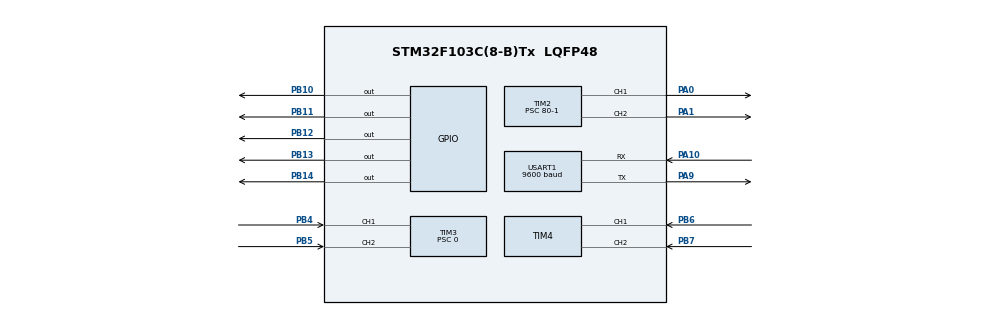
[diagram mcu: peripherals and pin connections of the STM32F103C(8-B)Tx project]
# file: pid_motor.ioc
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Mcu.Family=STM32F1
Mcu.Name=STM32F103C(8-B)Tx
Mcu.Package=LQFP48
NVIC.PriorityGroup=NVIC_PRIORITYGROUP_4
NVIC.TIM2_IRQn=true\:0\:0\:false\:false\:true\:true\:true\:true
NVIC.TIM3_IRQn=true\:0\:0\:false\:false\:true\:true\:true\:true
PA0-WKUP.Signal=S_TIM2_CH1_ETR
PA1.Signal=S_TIM2_CH2
PA10.Mode=Asynchronous
PA10.Signal=USART1_RX
PA13.Mode=Serial_Wire
PA13.Signal=SYS_JTMS-SWDIO
PA14.Mode=Serial_Wire
PA14.Signal=SYS_JTCK-SWCLK
PA9.Mode=Asynchronous
PA9.Signal=USART1_TX
PB10.Signal=GPIO_Output
PB11.Signal=GPIO_Output
PB12.Signal=GPIO_Output
PB13.Signal=GPIO_Output
PB14.Signal=GPIO_Output
PB4.Signal=S_TIM3_CH1
PB5.Signal=S_TIM3_CH2
PB6.Signal=S_TIM4_CH1
PB7.Signal=S_TIM4_CH2
PD0-OSC_IN.Mode=HSE-External-Oscillator
PD0-OSC_IN.Signal=RCC_OSC_IN
PD1-OSC_OUT.Mode=HSE-External-Oscillator
PD1-OSC_OUT.Signal=RCC_OSC_OUT
ProjectManager.HeapSize=0x200
ProjectManager.StackSize=0x400
ProjectManager.TargetToolchain=STM32CubeIDE
RCC.APB1Freq_Value=8000000
RCC.APB2Freq_Value=8000000
RCC.SYSCLKSource=RCC_SYSCLKSOURCE_HSE
SH.S_TIM2_CH1_ETR.0=TIM2_CH1,PWM Generation1 CH1
SH.S_TIM2_CH2.0=TIM2_CH2,PWM Generation2 CH2
SH.S_TIM3_CH1.0=TIM3_CH1,Encoder_Interface
SH.S_TIM3_CH2.0=TIM3_CH2,Encoder_Interface
SH.S_TIM4_CH1.0=TIM4_CH1,Encoder_Interface
SH.S_TIM4_CH2.0=TIM4_CH2,Encoder_Interface
TIM2.AutoReloadPreload=TIM_AUTORELOAD_PRELOAD_DISABLE
TIM2.Channel-PWM\ Generation1\ CH1=TIM_CHANNEL_1
TIM2.Channel-PWM\ Generation2\ CH2=TIM_CHANNEL_2
TIM2.Period=200-1
TIM2.Prescaler=80-1
TIM2.Pulse-PWM\ Generation1\ CH1=250-1
TIM3.EncoderMode=TIM_ENCODERMODE_TI12
TIM3.IC1Polarity=TIM_ICPOLARITY_RISING
TIM3.IC2Polarity=TIM_ICPOLARITY_RISING
TIM3.Period=936-1
TIM3.Prescaler=0
TIM4.EncoderMode=TIM_ENCODERMODE_TI12
USART1.BaudRate=9600
USART1.VirtualMode=VM_ASYNC
VP_TIM2_VS_ClockSourceINT.Mode=Internal
board=custom

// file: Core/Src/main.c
/* USER CODE BEGIN Header */
/**
  ******************************************************************************
  * @file           : main.c
  * @brief          : Main program body
  ******************************************************************************
  * @attention
  *
  * Copyright (c) 2023 STMicroelectronics.
  * All rights reserved.
  *
  * This software is licensed under terms that can be found in the LICENSE file
  * in the root directory of this software component.
  * If no LICENSE file comes with this software, it is provided AS-IS.
  *
  ******************************************************************************
  */
/* USER CODE END Header */
#include "main.h"

/* USER CODE BEGIN Includes */
#include "motor.h"
#include "moving_average.h"
#include "math.h"
#include <stdio.h>
#include <string.h>
/* USER CODE END Includes */

TIM_HandleTypeDef htim2;
TIM_HandleTypeDef htim3;
TIM_HandleTypeDef htim4;

UART_HandleTypeDef huart1;

void SystemClock_Config(void);
static void MX_GPIO_Init(void);
static void MX_TIM2_Init(void);
static void MX_USART1_UART_Init(void);
static void MX_TIM3_Init(void);
static void MX_TIM4_Init(void);

/* USER CODE BEGIN 0 */
char pwm_buffer[10];
char rpm_buffer[10];
uint8_t send_flag = 0;
int16_t pwm;
int16_t speed=0;
FilterTypeDef filter_struct;
uint16_t cn=0;
int32_t idx =0;
const int8_t TIMER_PERIOD = 2; //2ms
int32_t current_time=0;
int16_t overflow_time=0;
int16_t prev_position_1=0, prev_position_2 = 0;

motor_params motor_1 ={
	.pulse_per_rev = 234,
	.ucount=0,
	.scount=0,
	.prev_time=0,
	.rpm=0,
	.direction=0,
	.pwm_channel = TIM_CHANNEL_1,
	.in1_pin = GPIO_PIN_12,
	.in2_pin = GPIO_PIN_13,
	.in_port = GPIOB
};

motor_params motor_2 ={
	.pulse_per_rev = 234,
	.ucount=0,
	.scount=0,
	.prev_time=0,
	.rpm=0,
	.direction=0,
	.pwm_channel = TIM_CHANNEL_2,
	.in1_pin = GPIO_PIN_10,
	.in2_pin = GPIO_PIN_11,
	.in_port = GPIOB

};

void HAL_TIM_IC_CaptureCallback(TIM_HandleTypeDef *htim){
	send_flag=1;
	if(htim->Instance == TIM3){
	readEncoder(&motor_1,htim);
//	Freq = 100kHz 1 tick = 1e-5
	current_time = overflow_time*200 + __HAL_TIM_GET_COUNTER(&htim2);
	if(motor_1.position!=prev_position_1){
		calculateRPM(&motor_1, current_time);
		prev_position_1  = motor_1.position;
		motor_1.rpm = Moving_Average_Compute(motor_1.rpm, &filter_struct);
		}
	}
	else if(htim->Instance == TIM4){
		readEncoder(&motor_2,htim);
	//	Freq = 100kHz 1 tick = 1e-5
		current_time = overflow_time*200 + __HAL_TIM_GET_COUNTER(&htim4);
		if(motor_2.position!=prev_position_2){
			calculateRPM(&motor_2, current_time);
			prev_position_2  = motor_2.position;
			motor_2.rpm = Moving_Average_Compute(motor_2.rpm, &filter_struct);
			}
		}
}

void HAL_TIM_PeriodElapsedCallback(TIM_HandleTypeDef *htim){
	UNUSED(htim);
	if(htim->Instance == TIM2){
		overflow_time ++;
	}
}

/* USER CODE END 0 */

int main(void)
{

  /* MCU Configuration--------------------------------------------------------*/

  /* Reset of all peripherals, Initializes the Flash interface and the Systick. */
  HAL_Init();

  /* Configure the system clock */
  SystemClock_Config();

  /* Initialize all configured peripherals */
  MX_GPIO_Init();
  MX_TIM2_Init();
  MX_USART1_UART_Init();
  MX_TIM3_Init();
  MX_TIM4_Init();
  /* USER CODE BEGIN 2 */
  HAL_TIM_Base_Start_IT(&htim2);

  initMotor(&motor_1,&htim2);
  initMotor(&motor_2,&htim2);

  HAL_TIM_Encoder_Start_IT(&htim3, TIM_CHANNEL_ALL);
  HAL_TIM_Encoder_Start_IT(&htim4, TIM_CHANNEL_ALL);
  Moving_Average_Init(&filter_struct);

  PID_Param pid_params;
	pid_params.Kp=1.12;
	pid_params.Ki=0.002;
	pid_params.Kd=30;
	pid_params.Outmin=20;
	pid_params.Outmax=100;
	pid_params.enable_anti_windup=1;
	pid_params.Anti_windup_error=40;
//
	PID_Init(&pid_params);
	// Nho han lai chan A15
	setMotorPWM(&motor_1,&htim2,100);
	setMotorPWM(&motor_2,&htim2,100);
//	uint16_t prev_time=0;

  /* USER CODE END 2 */

  /* Infinite loop */
  /* USER CODE BEGIN WHILE */
  while (1)
  {
//	  pwm = 50*sin(2*3.141*idx/1000)+50;
//	  setMotorPWM(&htim2, pwm);

//	  idx++;
	  if(send_flag==1){
		  send_flag=0;
		  sprintf(rpm_buffer,"%d\n",motor_1.rpm);
		  //	  sprintf(pwm_buffer,"%d\n",pwm);
		  HAL_UART_Transmit(&huart1, (uint16_t *)rpm_buffer, sizeof(rpm_buffer), HAL_MAX_DELAY);
		  //	  HAL_UART_Transmit(&huart1, (int16_t *)pwm_buffer, sizeof(pwm_buffer), HAL_MAX_DELAY);
	  }
//	  pwm = PID_Calculation(200, motor_p.rpm);

//	  HAL_Delay(10);
    /* USER CODE END WHILE */

  }
}

void SystemClock_Config(void)
{
  RCC_OscInitTypeDef RCC_OscInitStruct = {0};
  RCC_ClkInitTypeDef RCC_ClkInitStruct = {0};

  /** Initializes the RCC Oscillators according to the specified parameters
  * in the RCC_OscInitTypeDef structure.
  */
  RCC_OscInitStruct.OscillatorType = RCC_OSCILLATORTYPE_HSE;
  RCC_OscInitStruct.HSEState = RCC_HSE_ON;
  RCC_OscInitStruct.PLL.PLLState = RCC_PLL_NONE;
  if (HAL_RCC_OscConfig(&RCC_OscInitStruct) != HAL_OK)
  {
    Error_Handler();
  }

  /** Initializes the CPU, AHB and APB buses clocks
  */
  RCC_ClkInitStruct.ClockType = RCC_CLOCKTYPE_HCLK|RCC_CLOCKTYPE_SYSCLK
                              |RCC_CLOCKTYPE_PCLK1|RCC_CLOCKTYPE_PCLK2;
  RCC_ClkInitStruct.SYSCLKSource = RCC_SYSCLKSOURCE_HSE;
  RCC_ClkInitStruct.AHBCLKDivider = RCC_SYSCLK_DIV1;
  RCC_ClkInitStruct.APB1CLKDivider = RCC_HCLK_DIV1;
  RCC_ClkInitStruct.APB2CLKDivider = RCC_HCLK_DIV1;

  if (HAL_RCC_ClockConfig(&RCC_ClkInitStruct, FLASH_LATENCY_0) != HAL_OK)
  {
    Error_Handler();
  }
}

static void MX_TIM2_Init(void)
{

  TIM_ClockConfigTypeDef sClockSourceConfig = {0};
  TIM_MasterConfigTypeDef sMasterConfig = {0};
  TIM_OC_InitTypeDef sConfigOC = {0};

  htim2.Instance = TIM2;
  htim2.Init.Prescaler = 80-1;
  htim2.Init.CounterMode = TIM_COUNTERMODE_UP;
  htim2.Init.Period = 200-1;
  htim2.Init.ClockDivision = TIM_CLOCKDIVISION_DIV1;
  htim2.Init.AutoReloadPreload = TIM_AUTORELOAD_PRELOAD_DISABLE;
  if (HAL_TIM_Base_Init(&htim2) != HAL_OK)
  {
    Error_Handler();
  }
  sClockSourceConfig.ClockSource = TIM_CLOCKSOURCE_INTERNAL;
  if (HAL_TIM_ConfigClockSource(&htim2, &sClockSourceConfig) != HAL_OK)
  {
    Error_Handler();
  }
  if (HAL_TIM_PWM_Init(&htim2) != HAL_OK)
  {
    Error_Handler();
  }
  sMasterConfig.MasterOutputTrigger = TIM_TRGO_RESET;
  sMasterConfig.MasterSlaveMode = TIM_MASTERSLAVEMODE_DISABLE;
  if (HAL_TIMEx_MasterConfigSynchronization(&htim2, &sMasterConfig) != HAL_OK)
  {
    Error_Handler();
  }
  sConfigOC.OCMode = TIM_OCMODE_PWM1;
  sConfigOC.Pulse = 250-1;
  sConfigOC.OCPolarity = TIM_OCPOLARITY_HIGH;
  sConfigOC.OCFastMode = TIM_OCFAST_DISABLE;
  if (HAL_TIM_PWM_ConfigChannel(&htim2, &sConfigOC, TIM_CHANNEL_1) != HAL_OK)
  {
    Error_Handler();
  }
  sConfigOC.Pulse = 0;
  if (HAL_TIM_PWM_ConfigChannel(&htim2, &sConfigOC, TIM_CHANNEL_2) != HAL_OK)
  {
    Error_Handler();
  }
  HAL_TIM_MspPostInit(&htim2);

}

static void MX_TIM3_Init(void)
{

  TIM_Encoder_InitTypeDef sConfig = {0};
  TIM_MasterConfigTypeDef sMasterConfig = {0};

  htim3.Instance = TIM3;
  htim3.Init.Prescaler = 0;
  htim3.Init.CounterMode = TIM_COUNTERMODE_UP;
  htim3.Init.Period = 936-1;
  htim3.Init.ClockDivision = TIM_CLOCKDIVISION_DIV1;
  htim3.Init.AutoReloadPreload = TIM_AUTORELOAD_PRELOAD_DISABLE;
  sConfig.EncoderMode = TIM_ENCODERMODE_TI12;
  sConfig.IC1Polarity = TIM_ICPOLARITY_RISING;
  sConfig.IC1Selection = TIM_ICSELECTION_DIRECTTI;
  sConfig.IC1Prescaler = TIM_ICPSC_DIV1;
  sConfig.IC1Filter = 0;
  sConfig.IC2Polarity = TIM_ICPOLARITY_RISING;
  sConfig.IC2Selection = TIM_ICSELECTION_DIRECTTI;
  sConfig.IC2Prescaler = TIM_ICPSC_DIV1;
  sConfig.IC2Filter = 0;
  if (HAL_TIM_Encoder_Init(&htim3, &sConfig) != HAL_OK)
  {
    Error_Handler();
  }
  sMasterConfig.MasterOutputTrigger = TIM_TRGO_RESET;
  sMasterConfig.MasterSlaveMode = TIM_MASTERSLAVEMODE_DISABLE;
  if (HAL_TIMEx_MasterConfigSynchronization(&htim3, &sMasterConfig) != HAL_OK)
  {
    Error_Handler();
  }

}

static void MX_TIM4_Init(void)
{

  TIM_Encoder_InitTypeDef sConfig = {0};
  TIM_MasterConfigTypeDef sMasterConfig = {0};

  htim4.Instance = TIM4;
  htim4.Init.Prescaler = 0;
  htim4.Init.CounterMode = TIM_COUNTERMODE_UP;
  htim4.Init.Period = 65535;
  htim4.Init.ClockDivision = TIM_CLOCKDIVISION_DIV1;
  htim4.Init.AutoReloadPreload = TIM_AUTORELOAD_PRELOAD_DISABLE;
  sConfig.EncoderMode = TIM_ENCODERMODE_TI12;
  sConfig.IC1Polarity = TIM_ICPOLARITY_RISING;
  sConfig.IC1Selection = TIM_ICSELECTION_DIRECTTI;
  sConfig.IC1Prescaler = TIM_ICPSC_DIV1;
  sConfig.IC1Filter = 0;
  sConfig.IC2Polarity = TIM_ICPOLARITY_RISING;
  sConfig.IC2Selection = TIM_ICSELECTION_DIRECTTI;
  sConfig.IC2Prescaler = TIM_ICPSC_DIV1;
  sConfig.IC2Filter = 0;
  if (HAL_TIM_Encoder_Init(&htim4, &sConfig) != HAL_OK)
  {
    Error_Handler();
  }
  sMasterConfig.MasterOutputTrigger = TIM_TRGO_RESET;
  sMasterConfig.MasterSlaveMode = TIM_MASTERSLAVEMODE_DISABLE;
  if (HAL_TIMEx_MasterConfigSynchronization(&htim4, &sMasterConfig) != HAL_OK)
  {
    Error_Handler();
  }

}

static void MX_USART1_UART_Init(void)
{

  huart1.Instance = USART1;
  huart1.Init.BaudRate = 9600;
  huart1.Init.WordLength = UART_WORDLENGTH_8B;
  huart1.Init.StopBits = UART_STOPBITS_1;
  huart1.Init.Parity = UART_PARITY_NONE;
  huart1.Init.Mode = UART_MODE_TX_RX;
  huart1.Init.HwFlowCtl = UART_HWCONTROL_NONE;
  huart1.Init.OverSampling = UART_OVERSAMPLING_16;
  if (HAL_UART_Init(&huart1) != HAL_OK)
  {
    Error_Handler();
  }

}

static void MX_GPIO_Init(void)
{
  GPIO_InitTypeDef GPIO_InitStruct = {0};

  /* GPIO Ports Clock Enable */
  __HAL_RCC_GPIOD_CLK_ENABLE();
  __HAL_RCC_GPIOA_CLK_ENABLE();
  __HAL_RCC_GPIOB_CLK_ENABLE();

  /*Configure GPIO pin Output Level */
  HAL_GPIO_WritePin(GPIOB, GPIO_PIN_10|GPIO_PIN_11|GPIO_PIN_12|GPIO_PIN_13
                          |GPIO_PIN_14, GPIO_PIN_RESET);

  /*Configure GPIO pins : PB10 PB11 PB12 PB13
                           PB14 */
  GPIO_InitStruct.Pin = GPIO_PIN_10|GPIO_PIN_11|GPIO_PIN_12|GPIO_PIN_13
                          |GPIO_PIN_14;
  GPIO_InitStruct.Mode = GPIO_MODE_OUTPUT_PP;
  GPIO_InitStruct.Pull = GPIO_NOPULL;
  GPIO_InitStruct.Speed = GPIO_SPEED_FREQ_LOW;
  HAL_GPIO_Init(GPIOB, &GPIO_InitStruct);

}

void Error_Handler(void)
{
  __disable_irq();
  while (1)
  {
  }
}
